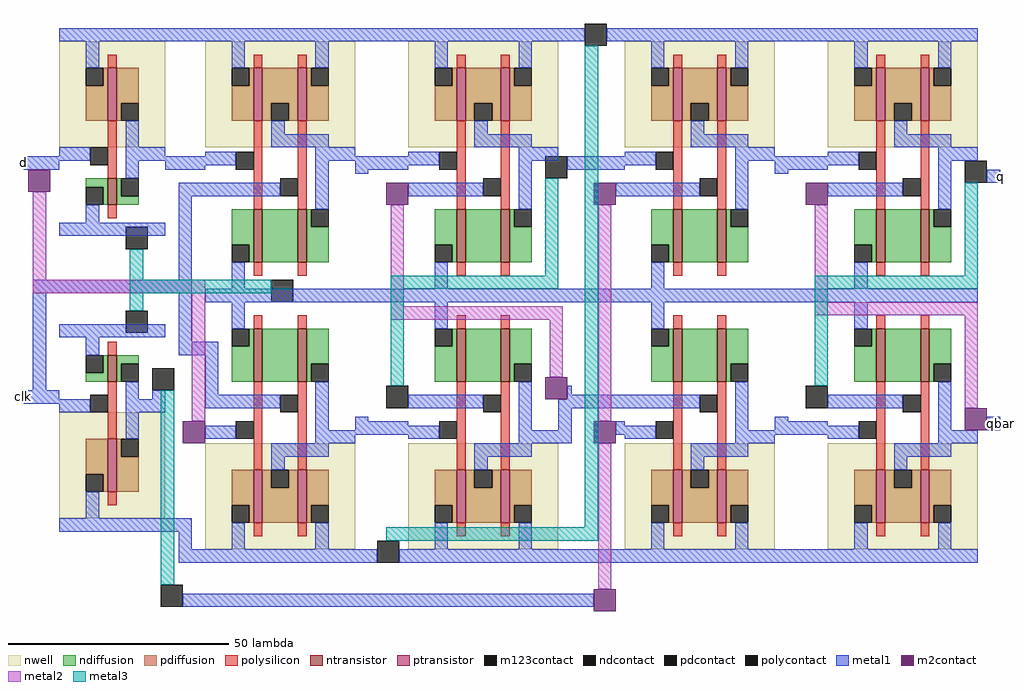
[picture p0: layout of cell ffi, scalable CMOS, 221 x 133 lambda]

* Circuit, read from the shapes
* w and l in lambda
.subckt ffi clk d gnd! q qbar vdd!
M1 nand_5/a clk gnd! VSUBS nfet w=6 l=2
M2 nand_0/a d gnd! VSUBS nfet w=6 l=2
M3 n1 d gnd! VSUBS nfet w=12 l=2
M4 n2 nand_0/a gnd! VSUBS nfet w=12 l=2
M5 nand_3/a clk n1 VSUBS nfet w=12 l=2
M6 nand_1/a clk n2 VSUBS nfet w=12 l=2
M7 n3 nand_3/a gnd! VSUBS nfet w=12 l=2
M8 n4 nand_1/a gnd! VSUBS nfet w=12 l=2
M9 nand_1/b nand_4/a n3 VSUBS nfet w=12 l=2
M10 nand_4/a nand_1/b n4 VSUBS nfet w=12 l=2
M11 n5 nand_5/a gnd! VSUBS nfet w=12 l=2
M12 n6 nand_4/a gnd! VSUBS nfet w=12 l=2
M13 nand_7/a nand_1/b n5 VSUBS nfet w=12 l=2
M14 nand_6/a nand_5/a n6 VSUBS nfet w=12 l=2
M15 n7 nand_7/a gnd! VSUBS nfet w=12 l=2
M16 n8 nand_6/a gnd! VSUBS nfet w=12 l=2
M17 qbar q n7 VSUBS nfet w=12 l=2
M18 q qbar n8 VSUBS nfet w=12 l=2
M19 nand_5/a clk vdd! n9 pfet w=12 l=2
M20 nand_0/a d vdd! n10 pfet w=12 l=2
M21 nand_3/a d vdd! n11 pfet w=12 l=2
M22 nand_1/a nand_0/a vdd! n12 pfet w=12 l=2
M23 vdd! clk nand_3/a n11 pfet w=12 l=2
M24 vdd! clk nand_1/a n12 pfet w=12 l=2
M25 nand_1/b nand_3/a vdd! n13 pfet w=12 l=2
M26 nand_4/a nand_1/a vdd! n14 pfet w=12 l=2
M27 vdd! nand_4/a nand_1/b n13 pfet w=12 l=2
M28 vdd! nand_1/b nand_4/a n14 pfet w=12 l=2
M29 nand_7/a nand_5/a vdd! n15 pfet w=12 l=2
M30 nand_6/a nand_4/a vdd! n16 pfet w=12 l=2
M31 vdd! nand_1/b nand_7/a n15 pfet w=12 l=2
M32 vdd! nand_5/a nand_6/a n16 pfet w=12 l=2
M33 qbar nand_7/a vdd! n17 pfet w=12 l=2
M34 q nand_6/a vdd! n18 pfet w=12 l=2
M35 vdd! q qbar n17 pfet w=12 l=2
M36 vdd! qbar q n18 pfet w=12 l=2
.ends

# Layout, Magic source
magic
tech scmos
<< metal1 >>
rect 18 87 27 90
rect 61 87 73 90
rect 107 87 113 90
rect 118 87 122 90
rect 156 87 168 90
rect -14 58 -6 61
rect 18 58 27 61
rect 61 58 73 61
rect 61 57 64 58
rect 109 58 122 61
rect 156 58 168 61
rect 156 57 159 58
rect 204 55 207 58
rect 21 52 27 55
rect 21 33 24 52
rect 120 52 122 55
rect -12 30 24 33
rect -12 8 -9 30
rect 21 19 24 30
rect 61 30 73 31
rect 61 28 76 30
rect 107 28 122 31
rect 156 28 168 31
rect 21 16 30 19
rect -14 5 -6 8
rect 15 5 18 8
rect 27 7 30 16
rect 109 7 110 9
rect 109 6 122 7
rect 107 4 122 6
rect 61 1 64 2
rect 61 -2 73 1
rect 107 -4 110 4
rect 156 1 159 2
rect 120 -2 122 1
rect 156 -2 168 1
rect 204 -1 207 2
rect 18 -24 24 -21
rect 21 -28 24 -24
rect 21 -31 29 -28
rect 61 -31 66 -28
rect 71 -31 73 -28
rect 107 -31 122 -28
rect 156 -31 168 -28
rect 22 -41 115 -38
<< m2contact >>
rect -13 53 -8 58
rect 68 50 73 55
rect 115 50 120 55
rect 163 50 168 55
rect 104 6 109 11
rect 22 -4 27 1
rect 115 -4 120 1
rect 199 -1 204 4
rect 115 -42 120 -37
<< metal2 >>
rect -12 33 -9 53
rect -12 30 27 33
rect 24 1 27 30
rect 69 27 72 50
rect 69 24 108 27
rect 105 11 108 24
rect 116 1 119 50
rect 165 28 168 50
rect 165 25 202 28
rect 199 4 202 25
rect 116 -37 119 -4
<< m123contact >>
rect 113 86 118 91
rect 104 56 109 61
rect 199 55 204 60
rect 9 40 14 45
rect 9 21 14 26
rect 15 8 20 13
rect 42 28 47 33
rect 68 4 73 9
rect 163 4 168 9
rect 66 -31 71 -26
rect 17 -41 22 -36
<< metal3 >>
rect 10 33 13 40
rect 104 34 107 56
rect 10 30 42 33
rect 10 26 13 30
rect 69 31 107 34
rect 69 9 72 31
rect 17 -36 20 8
rect 113 -23 116 86
rect 199 34 202 55
rect 165 31 202 34
rect 165 9 168 31
rect 68 -26 116 -23
use inv  inv_0
transform 1 0 -6 0 1 57
box 0 -15 24 33
use nand  nand_0
transform 1 0 27 0 1 63
box 0 -35 34 27
use inv  inv_1
transform 1 0 -6 0 -1 9
box 0 -15 24 33
use nand  nand_2
transform 1 0 27 0 -1 -4
box 0 -35 34 27
use nand  nand_1
transform 1 0 73 0 1 63
box 0 -35 34 27
use nand  nand_3
transform 1 0 73 0 -1 -4
box 0 -35 34 27
use nand  nand_4
transform 1 0 122 0 1 63
box 0 -35 34 27
use nand  nand_5
transform 1 0 122 0 -1 -4
box 0 -35 34 27
use nand  nand_6
transform 1 0 168 0 1 63
box 0 -35 34 27
use nand  nand_7
transform 1 0 168 0 -1 -4
box 0 -35 34 27
<< labels >>
rlabel metal1 -14 58 -14 61 3 d
rlabel metal1 207 -1 207 2 7 qbar
rlabel metal1 207 55 207 58 7 q
rlabel metal1 -14 5 -14 8 3 clk
<< end >>

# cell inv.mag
magic
tech scmos
<< nwell >>
rect 0 6 24 30
<< ntransistor >>
rect 11 -7 13 -1
<< ptransistor >>
rect 11 12 13 24
<< ndiffusion >>
rect 6 -3 11 -1
rect 10 -7 11 -3
rect 13 -5 14 -1
rect 13 -7 18 -5
<< pdiffusion >>
rect 10 20 11 24
rect 6 12 11 20
rect 13 16 18 24
rect 13 12 14 16
<< ndcontact >>
rect 6 -7 10 -3
rect 14 -5 18 -1
<< pdcontact >>
rect 6 20 10 24
rect 14 12 18 16
<< polysilicon >>
rect 11 24 13 27
rect 11 -1 13 12
rect 11 -10 13 -7
<< polycontact >>
rect 7 2 11 6
<< metal1 >>
rect 0 30 24 33
rect 6 24 9 30
rect 15 6 18 12
rect 0 3 7 6
rect 15 3 24 6
rect 15 -1 18 3
rect 6 -11 9 -7
rect 0 -14 24 -11
<< labels >>
rlabel metal1 14 31 14 31 5 vdd!
rlabel metal1 24 3 24 6 7 op
rlabel metal1 0 3 0 6 3 in
rlabel metal1 20 -13 20 -13 1 gnd!
<< end >>

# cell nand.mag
magic
tech scmos
<< nwell >>
rect 0 0 34 24
<< ntransistor >>
rect 11 -26 13 -14
rect 21 -26 23 -14
<< ptransistor >>
rect 11 6 13 18
rect 21 6 23 18
<< ndiffusion >>
rect 6 -22 11 -14
rect 10 -26 11 -22
rect 13 -26 21 -14
rect 23 -18 24 -14
rect 23 -26 28 -18
<< pdiffusion >>
rect 10 14 11 18
rect 6 6 11 14
rect 13 10 21 18
rect 13 6 15 10
rect 19 6 21 10
rect 23 14 24 18
rect 23 6 28 14
<< ndcontact >>
rect 6 -26 10 -22
rect 24 -18 28 -14
<< pdcontact >>
rect 6 14 10 18
rect 15 6 19 10
rect 24 14 28 18
<< polysilicon >>
rect 11 18 13 21
rect 21 18 23 21
rect 11 -14 13 6
rect 21 -14 23 6
rect 11 -29 13 -26
rect 21 -29 23 -26
<< polycontact >>
rect 7 -5 11 -1
rect 17 -11 21 -7
<< metal1 >>
rect 0 24 34 27
rect 6 18 9 24
rect 25 18 28 24
rect 15 3 18 6
rect 15 0 28 3
rect 0 -4 7 -1
rect 25 -3 34 0
rect 0 -11 17 -8
rect 25 -14 28 -3
rect 6 -32 9 -26
rect 0 -35 34 -32
<< labels >>
rlabel metal1 24 26 24 26 5 vdd!
rlabel metal1 24 -34 24 -34 1 gnd!
rlabel metal1 0 -11 0 -8 3 b
rlabel metal1 0 -4 0 -1 3 a
rlabel metal1 34 -3 34 0 7 out
<< end >>
